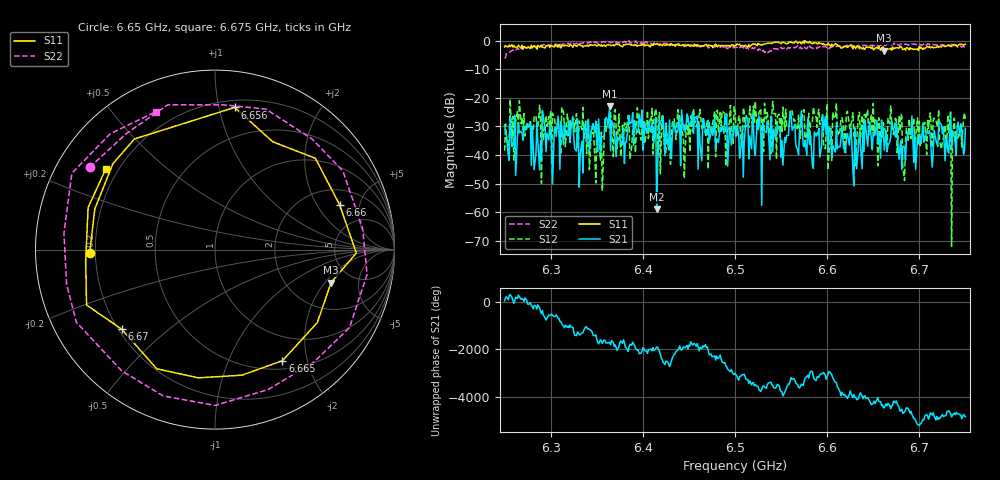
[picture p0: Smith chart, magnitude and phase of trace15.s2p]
# Hz S RI R 50
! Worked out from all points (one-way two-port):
!   401 points, 6.25 GHz to 6.75 GHz, reference 50 ohm
!   highest |S21| = -22.96 dB at 6.364 GHz (marker M1); lowest = -59.0 dB at 6.415 GHz (marker M2)
!   lowest |S11| = -3.4 dB at 6.662 GHz (marker M3), VSWR 5.10, Z = 173 - j116 ohm
!   |S11| at or under -10 dB: nowhere
!   |S22| runs from -6.1 to 0.0 dB; largest |S21 - S12| = 0.11
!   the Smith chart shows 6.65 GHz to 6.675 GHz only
!   S11 on the Smith chart (normalised r, x): 6.65 GHz: 0.18, -0.01; 6.656 GHz: 0.25, +1.12; 6.66 GHz: 2.94, +3.21; 6.665 GHz: 0.62, -1.60; 6.67 GHz: 0.21, -0.35; 6.675 GHz: 0.15, +0.32
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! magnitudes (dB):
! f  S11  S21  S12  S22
! 6.25 GHz  -2.2  -29.5  -38.5  -6.1
! 6.334 GHz  -1.7  -35.2  -31.1  -0.8
! 6.339 GHz  -1.7  -35.4  -39.6  -0.9
! 6.355 GHz  -1.4  -33.4  -32.0  -0.6
! 6.364 GHz  -1.4  -23.0  -30.4  -0.3
! 6.415 GHz  -1.0  -59.0  -26.1  -1.0
! 6.418 GHz  -1.5  -27.7  -25.1  -1.5
! 6.42 GHz  -1.5  -29.2  -34.0  -1.4
! 6.5 GHz  -1.6  -29.9  -23.6  -2.3
! 6.584 GHz  -1.1  -43.5  -28.3  -2.6
! 6.65 GHz  -3.1  -32.0  -21.9  -1.6
! 6.656 GHz  -1.9  -32.1  -27.0  -1.7
! 6.66 GHz  -2.6  -33.5  -33.9  -1.3
! 6.662 GHz  -3.4  -38.3  -30.1  -1.6
! 6.665 GHz  -2.8  -38.8  -36.8  -1.2
! 6.668 GHz  -2.8  -35.4  -29.1  -1.4
! 6.67 GHz  -3.3  -28.2  -29.0  -1.4
! 6.675 GHz  -2.4  -27.6  -27.8  -1.6
! 6.685 GHz  -3.3  -41.9  -35.5  -1.1
! 6.719 GHz  -2.1  -35.9  -29.3  -1.4
! 6.738 GHz  -1.3  -33.7  -27.1  -1.5
! 6.75 GHz  -1.2  -30.6  -27.3  -2.3
